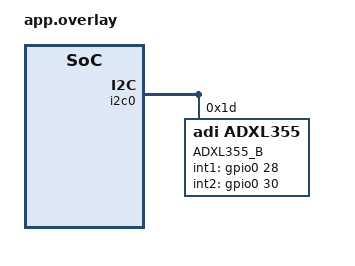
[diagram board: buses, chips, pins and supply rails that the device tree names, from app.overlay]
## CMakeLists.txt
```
cmake_minimum_required(VERSION 3.20.0)

set(BOARD chester_nrf52840)
find_package(Zephyr REQUIRED HINTS $ENV{ZEPHYR_BASE})
project(adxl355)

target_sources(app PRIVATE src/main.c)
```

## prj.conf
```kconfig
CONFIG_CTR_DEFAULTS=y
CONFIG_CTR_LOG=y
CONFIG_CTR_SHELL=y

CONFIG_CBPRINTF_FP_SUPPORT=y

CONFIG_SENSOR=y
CONFIG_I2C=y
CONFIG_I2C_LOG_LEVEL_DBG=y
CONFIG_GPIO=y

CONFIG_ADXL355=y
CONFIG_ADXL355_TRIGGER=y
CONFIG_ADXL355_TRIGGER_GLOBAL_THREAD=y
CONFIG_ADXL355_INT1_FIFO_FULL=y
CONFIG_ADXL355_FIFO=y
CONFIG_ADXL355_FIFO_SAMPLES=72
#CONFIG_ADXL355_LOG_LEVEL_DBG=y
```

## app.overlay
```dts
&i2c0{
    adxl355_b: adxl355_b@1d{
        compatible = "adi,adxl355";
        label = "ADXL355_B";
        status = "okay";
        reg = <0x1d>;
        range = <1>;
        odr_lpf = <4>;
        hpf = <0>;
        int1-gpios = <&gpio0 28 GPIO_ACTIVE_HIGH>;
        int2-gpios = <&gpio0 30 GPIO_ACTIVE_HIGH>;
    };

};
```

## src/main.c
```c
/* CHESTER includes */

/* Zephyr includes */
#include <zephyr/device.h>
#include <zephyr/devicetree.h>
#include <zephyr/drivers/sensor.h>
#include <zephyr/kernel.h>
#include <zephyr/logging/log.h>

LOG_MODULE_REGISTER(main, LOG_LEVEL_DBG);

const struct device *dev = DEVICE_DT_GET(DT_NODELABEL(adxl355_b));

#if !defined(CONFIG_ADXL355_TRIGGER)

void main(void)
{
	LOG_INF("Build time: " __DATE__ " " __TIME__);

	if (!device_is_ready(dev)) {
		LOG_ERR("Device %s is not ready\n", dev->name);
		return;
	}

	int ret;

	/* WakeUp */
	const struct sensor_value val = {4, 0};
	sensor_attr_set(dev, SENSOR_CHAN_ALL, SENSOR_ATTR_CONFIGURATION, &val);

	for (;;) {
		LOG_INF("Alive");

		k_sleep(K_MSEC(1000));
		if (sensor_sample_fetch(dev) < 0) {
			LOG_ERR("Sample fetch error\n");
			return;
		}

		ret = sensor_sample_fetch(dev);
		if (ret) {
			LOG_ERR("Call sensor sample fatetch' failed: %d", ret);
		}

		struct sensor_value values[4];
		sensor_channel_get(dev, SENSOR_CHAN_ALL, values);

		LOG_INF("accel: %f \t %f \t %f \t %f", sensor_value_to_double(&values[0]),
			sensor_value_to_double(&values[1]), sensor_value_to_double(&values[2]),
			sensor_value_to_double(&values[3]));
	}
}

#elif defined(CONFIG_ADXL355_TRIGGER) && !defined(CONFIG_ADXL355_FIFO)

K_SEM_DEFINE(sem, 0, 1);

static void trigger_handler(const struct device *dev, const struct sensor_trigger *trig)
{
	int ret;

	/* fetch samples */
	ret = sensor_sample_fetch(dev);
	if (ret) {
		LOG_ERR("Call sensor sample fatetch' failed: %d", ret);
	}
	k_sem_give(&sem);
}

void main(void)
{
	LOG_INF("Build time: " __DATE__ " " __TIME__);

	if (!device_is_ready(dev)) {
		LOG_ERR("Device %s is not ready\n", dev->name);
		return;
	}

	int ret;

	/* set trigger handler */
	struct sensor_trigger trig = {.chan = SENSOR_CHAN_ACCEL_XYZ,
				      .type = SENSOR_TRIG_DATA_READY};

	ret = sensor_trigger_set(dev, &trig, trigger_handler);
	if (ret) {
		LOG_ERR("Call 'sensor_trigger_set' failed: %d", ret);
		return;
	}

	/* WakeUp */
	struct sensor_value val = {4, 0};
	sensor_attr_set(dev, SENSOR_CHAN_ALL, SENSOR_ATTR_CONFIGURATION, &val);

	for (;;) {

		/* wait to data ready */
		k_sem_take(&sem, K_FOREVER);

		/* get samples */
		struct sensor_value values[4];
		sensor_channel_get(dev, SENSOR_CHAN_ALL, values);

		LOG_INF("accel: %f \t %f \t %f \t %f", sensor_value_to_double(&values[0]),
			sensor_value_to_double(&values[1]), sensor_value_to_double(&values[2]),
			sensor_value_to_double(&values[3]));
	}
}

#elif defined(CONFIG_ADXL355_TRIGGER) && defined(CONFIG_ADXL355_FIFO)

K_SEM_DEFINE(sem, 0, 1);

static void trigger_handler(const struct device *dev, const struct sensor_trigger *trig)
{
	int ret;

	switch (trig->type) {
	case SENSOR_TRIG_DATA_READY:
		/* fetch data */
		ret = sensor_sample_fetch(dev);
		if (ret) {
			LOG_ERR("Call sensor sample fatetch' failed: %d", ret);
		}
		k_sem_give(&sem);
		break;
	default:
		break;
	}
}

void main(void)
{
	LOG_INF("Build time: " __DATE__ " " __TIME__);

	if (!device_is_ready(dev)) {
		LOG_ERR("Device %s is not ready\n", dev->name);
		return;
	}

	int ret;

	/* set trigger handler */
	struct sensor_trigger trig = {.chan = SENSOR_CHAN_ACCEL_XYZ,
				      .type = SENSOR_TRIG_DATA_READY};
	ret = sensor_trigger_set(dev, &trig, trigger_handler);
	if (ret) {
		LOG_ERR("Call 'sensor_trigger_set' failed: %d", ret);
		return;
	}

	/* WakeUp */
	struct sensor_value val = {4, 0};
	sensor_attr_set(dev, SENSOR_CHAN_ALL, SENSOR_ATTR_CONFIGURATION, &val);

	long sample = 0;

	for (;;) {

		/* wait to data ready */
		k_sem_take(&sem, K_FOREVER);

		/* get count of accelerations array samples */
		struct sensor_value samples;
		sensor_attr_get(dev, SENSOR_CHAN_ACCEL_XYZ, SENSOR_ATTR_COMMON_COUNT, &samples);

		/* get accelerations array*/
		struct sensor_value values[samples.val1 * 3];
		sensor_channel_get(dev, SENSOR_CHAN_ACCEL_XYZ, values);

		/* get temperature */
		struct sensor_value value_temp;
		sensor_channel_get(dev, SENSOR_CHAN_DIE_TEMP, &value_temp);

		/* Print accelerations array in g */
		for (int i = 0; i < ARRAY_SIZE(values);) {
			LOG_INF("accel: %ld | %f \t %f \t %f \t %f", sample,
				sensor_value_to_double(&values[i]),
				sensor_value_to_double(&values[i + 1]),
				sensor_value_to_double(&values[i + 2]),
				sensor_value_to_double(&value_temp));

			i += 3;
			sample++;
		}
	}
}
#endif
```
